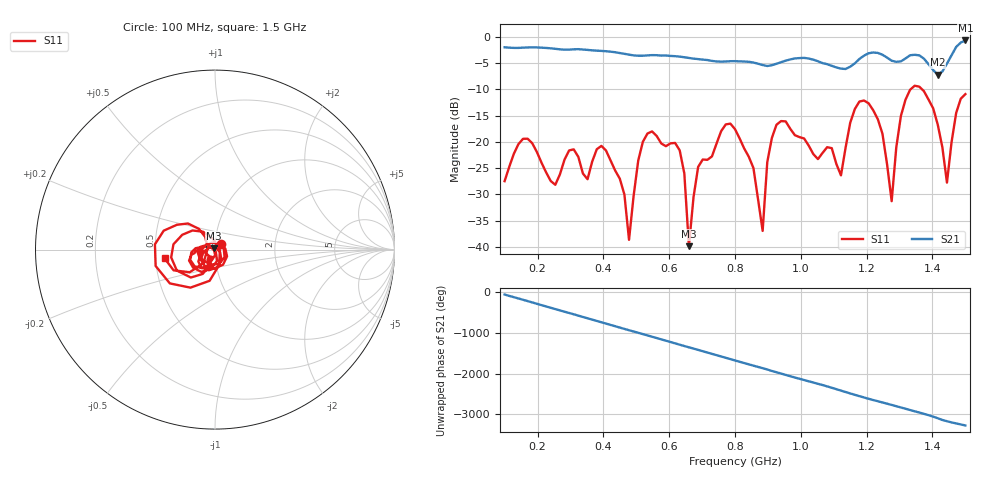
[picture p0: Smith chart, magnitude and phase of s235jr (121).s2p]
! NanoVNA-App
! Date: 2025-09-25 15:05:06
! Start: 100MHz Stop: 1,5GHz Points: 101
! S-Parameter data: F S11 S21 S12 S22
# Hz S RI R 50
!  Frequency  S11_Real  S11_Imag  S21_Real  S21_Imag  S12_Real  S12_Imag  S22_Real  S22_Imag
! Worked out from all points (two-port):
!   101 points, 100 MHz to 1.5 GHz, reference 50 ohm
!   highest |S21| = -0.66 dB at 1.5 GHz (marker M1); lowest = -7.2 dB at 1.416 GHz (marker M2)
!   |S21| within 3 dB of the highest: start of sweep to 618.4 MHz; 1.19 GHz to 1.255 GHz (65.42 MHz wide, 5.35 % of centre) (the widest 2 of 4)
!   lowest |S11| = -39.9 dB at 660 MHz (marker M3), VSWR 1.02, Z = 49.2 + j0.651 ohm
!   |S11| at or under -10 dB: start of sweep to 1.333 GHz; 1.369 GHz to end of sweep
!   S12 and S22 are empty: the file has one direction only
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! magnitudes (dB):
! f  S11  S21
! 100 MHz  -27.5  -2.0
! 156 MHz  -19.4  -2.0
! 338 MHz  -26.0  -2.4
! 408 MHz  -21.6  -2.7
! 478 MHz  -38.7  -3.4
! 520 MHz  -20.0  -3.6
! 576 MHz  -20.3  -3.5
! 632 MHz  -21.6  -3.7
! 660 MHz  -39.9  -4.0
! 688 MHz  -24.8  -4.2
! 800 MHz  -17.6  -4.6
! 884 MHz  -37.0  -5.3
! 898 MHz  -23.9  -5.5
! 926 MHz  -16.7  -5.1
! 1.038 GHz  -22.3  -4.3
! 1.122 GHz  -26.4  -6.0
! 1.206 GHz  -12.6  -3.1
! 1.276 GHz  -31.3  -4.5
! 1.332 GHz  -10.1  -3.5
! 1.416 GHz  -16.7  -7.2
! 1.444 GHz  -27.8  -5.1
! 1.5 GHz  -10.9  -0.7
